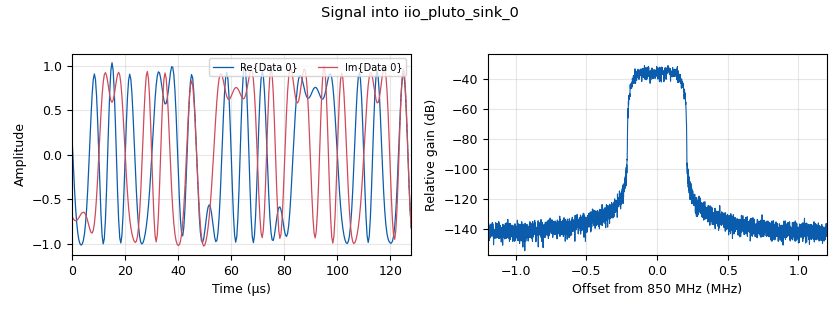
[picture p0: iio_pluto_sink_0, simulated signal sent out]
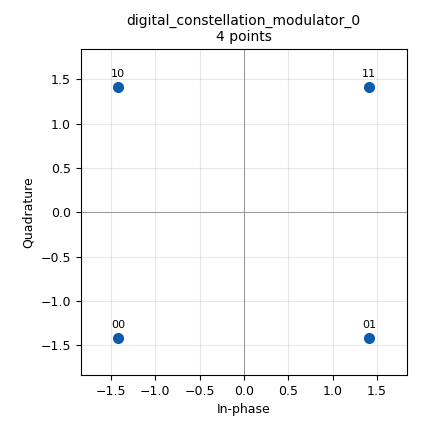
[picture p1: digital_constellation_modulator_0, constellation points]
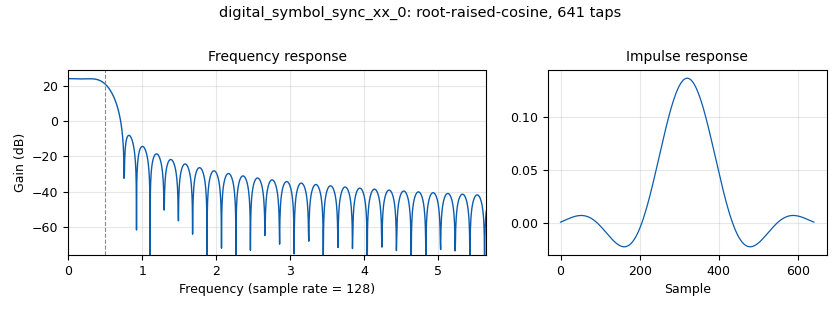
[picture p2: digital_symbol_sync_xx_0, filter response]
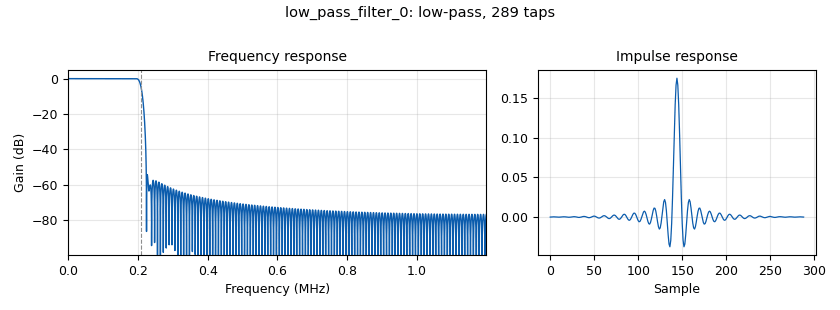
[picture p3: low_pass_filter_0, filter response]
options:
  parameters:
    author: emmanuelkwakyenyantakyi
    generate_options: qt_gui
    id: agc_timing_carr_phase_rec_loops_5_3
    output_language: python
    title: AGC, timing, and carrier phase recovery loops
  states: {}

blocks:
- name: my_const_qpsk
  id: variable_constellation
  parameters:
    precision: '8'
    type: qpsk
  states: {}
- name: nfilts
  id: variable
  parameters:
    value: '16'
  states: {}
- name: rrc_taps_2
  id: variable
  parameters:
    value: firdes.root_raised_cosine(nfilts, nfilts * sps, 1.0, 0.4, int(5 * sps * nfilts))
  states: {}
- name: samp_rate
  id: variable
  parameters:
    value: 2.4e6
  states: {}
- name: sps
  id: variable
  parameters:
    value: '8'
  states: {}
- name: analog_agc_xx_0
  id: analog_agc_xx
  parameters:
    gain: '1.0'
    max_gain: '65536'
    rate: '1e-4'
    reference: '1.0'
    type: complex
  states: {}
- name: analog_noise_source_x_0
  id: analog_noise_source_x
  parameters:
    amp: '0.15'
    noise_type: analog.GR_GAUSSIAN
    seed: '0'
    type: complex
  states: {}
- name: analog_random_source_x_0
  id: analog_random_source_x
  parameters:
    max: '255'
    min: '0'
    num_samps: '10000'
    repeat: 'True'
    type: byte
  states: {}
- name: blocks_add_xx_0
  id: blocks_add_xx
  parameters:
    type: complex
  states: {}
- name: blocks_multiply_const_vxx_0
  id: blocks_multiply_const_vxx
  parameters:
    const: '0.5'
    type: complex
  states: {}
- name: digital_constellation_modulator_0
  id: digital_constellation_modulator
  parameters:
    constellation: my_const_qpsk
    differential: 'False'
    excess_bw: '0.4'
    samples_per_symbol: sps
  states: {}
- name: digital_costas_loop_cc_0
  id: digital_costas_loop_cc
  parameters:
    order: '4'
    w: '0.0125664'
  states: {}
- name: digital_symbol_sync_xx_0
  id: digital_symbol_sync_xx
  parameters:
    constellation: digital.constellation_qpsk().base()
    damping: '0.707107'
    loop_bw: '0.00314159'
    max_dev: '1.5'
    nfilters: '16'
    osps: '1'
    pfb_mf_taps: rrc_taps_2
    resamp_type: digital.IR_PFB_MF
    sps: sps
    ted_gain: '2.6'
    ted_type: digital.TED_ZERO_CROSSING
    type: cc
  states: {}
- name: iio_pluto_sink_0
  id: iio_pluto_sink
  parameters:
    attenuation1: '10.0'
    bandwidth: '20000000'
    buffer_size: '32768'
    cyclic: 'False'
    filter_source: '''Auto'''
    frequency: int(850e6)
    samplerate: int(samp_rate)
    type: fc32
    uri: usb:0.2.5
  states: {}
- name: iio_pluto_source_0
  id: iio_pluto_source
  parameters:
    bandwidth: '20000000'
    bbdc: 'True'
    buffer_size: '32768'
    filter_source: '''Auto'''
    frequency: int(850e6)
    gain1: '''manual'''
    manual_gain1: '30'
    quadrature: 'True'
    rfdc: 'True'
    samplerate: int(samp_rate)
    type: fc32
    uri: usb:0.2.5
  states: {}
- name: low_pass_filter_0
  id: low_pass_filter
  parameters:
    cutoff_freq: 210e3
    decim: '1'
    gain: '1'
    samp_rate: samp_rate
    type: fir_filter_ccf
    width: 20e3
    win: window.WIN_HAMMING
  states: {}
- name: qtgui_const_sink_x_0
  id: qtgui_const_sink_x
  parameters:
    autoscale: 'True'
    name: '"AGC only"'
    size: '1024'
    type: complex
  states: {}
- name: qtgui_const_sink_x_1
  id: qtgui_const_sink_x
  parameters:
    autoscale: 'True'
    name: '"AGC, timing and phase recovery"'
    size: '1024'
    type: complex
  states: {}
- name: qtgui_time_sink_x_0
  id: qtgui_time_sink_x
  parameters:
    autoscale: 'True'
    name: '"Received signal after AGC"'
    size: '256'
    srate: samp_rate
    type: complex
  states: {}
- name: qtgui_time_sink_x_0_0
  id: qtgui_time_sink_x
  parameters:
    autoscale: 'True'
    name: '"Received signal"'
    size: '256'
    srate: samp_rate
    type: complex
  states: {}
- name: rational_resampler_xxx_0
  id: rational_resampler_xxx
  parameters:
    decim: sps
    interp: '1'
    type: ccc
  states: {}

connections:
- [analog_agc_xx_0, '0', digital_symbol_sync_xx_0, '0']
- [analog_agc_xx_0, '0', qtgui_time_sink_x_0, '0']
- [analog_agc_xx_0, '0', rational_resampler_xxx_0, '0']
- [analog_noise_source_x_0, '0', blocks_add_xx_0, '1']
- [analog_random_source_x_0, '0', digital_constellation_modulator_0, '0']
- [blocks_add_xx_0, '0', low_pass_filter_0, '0']
- [blocks_add_xx_0, '0', qtgui_time_sink_x_0_0, '0']
- [blocks_multiply_const_vxx_0, '0', iio_pluto_sink_0, '0']
- [digital_constellation_modulator_0, '0', blocks_multiply_const_vxx_0, '0']
- [digital_costas_loop_cc_0, '0', qtgui_const_sink_x_1, '0']
- [digital_symbol_sync_xx_0, '0', digital_costas_loop_cc_0, '0']
- [iio_pluto_source_0, '0', blocks_add_xx_0, '0']
- [low_pass_filter_0, '0', analog_agc_xx_0, '0']
- [rational_resampler_xxx_0, '0', qtgui_const_sink_x_0, '0']

metadata:
  file_format: 1
  grc_version: 3.10.12.0
